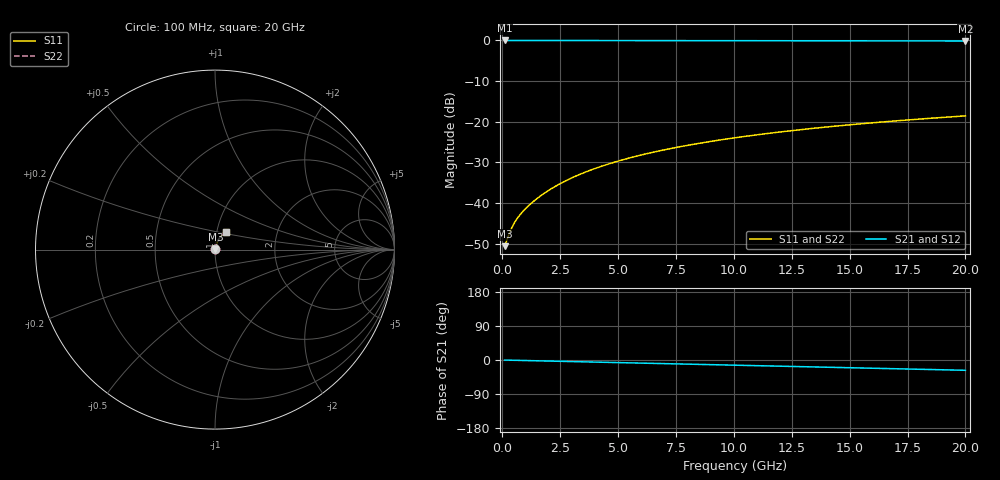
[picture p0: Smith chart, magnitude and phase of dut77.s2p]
! Touchstone file exported from HFSS 2026.1.0
!  File:  C:/ffzhzh/LocalFiles/Ansys_Project_Files/temp_train_BSMRDL_77_1782883010_43084.aedt
!  Generated:  01:17:59 PM Jul  1, 2026
!  Design:  BSMRDL
!  Project:  temp_train_BSMRDL_77_1782883010_43084
! Variables:
!  h_bsmrdl = 2.31um
!  h_ox = 20um
!  h_rdl = 5um
!  h_sub = 80um
!  h_tmrdl = 5um
!  h_tsv = 80um
!  h_via = 3um
!  l_bsmrdl = 445.26um
!  l_sub = 845.26um
!  l_tmrdl = 200um
!  m_sub = 200um
!  pitch = 37.12um
!  r_tsv = 6um
!  s_tmrdl = 10um
!  w_bsmrdl = 28.76um
!  w_sub = 500um
!  w_tmrdl = 12um
!  x_tsv_center1 = 206um
!  x_tsv_center2 = 680.02um
!  x_tsv_center3 = 892.02um
!  x_tsv_center4 = 1366.04um
!  x_tsv_center5 = 1578.04um
!  x_tsv_center6 = 2052.06um
# GHz S MA R 50.000000
! Terminal data exported
! Port[1] = BSM_RDL1_1_T1
! Port[2] = BSM_RDL1_1_T2
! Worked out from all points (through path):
!   200 points, 100 MHz to 20 GHz, reference 50 ohm
!   highest |S21| = -0.02 dB at 100 MHz (marker M1); lowest = -0.2 dB at 20 GHz (marker M2)
!   group delay of S21, straight-line fit = 3.77 ps
!   lowest |S11| = -50.6 dB at 100 MHz (marker M3), VSWR 1.01, Z = 50.3 + j0.0987 ohm
!   |S11| at or under -10 dB: start of sweep to end of sweep
!   |S22| runs from -50.6 to -18.6 dB; largest |S21 - S12| = 3.2e-15
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0.1  0.002952 19.4  0.9972 -0.2  0.9972 -0.2  0.002952 19.4
! Gamma 0 0 0 0
! Port Impedance 50 0 50 0
0.3  0.004201 40.9  0.9968 -0.5  0.9968 -0.5  0.004201 40.9
0.4  0.004899 45.8  0.9966 -0.6  0.9966 -0.6  0.004899 45.8
0.5  0.005566 49.1  0.9964 -0.7  0.9964 -0.7  0.005566 49.1
0.6  0.006198 51.6  0.9962 -0.9  0.9962 -0.9  0.006198 51.6
0.8  0.007383 55.4  0.9959 -1.2  0.9959 -1.2  0.007383 55.4
1.1  0.009084 59.9  0.9957 -1.6  0.9957 -1.6  0.009084 59.9
1.3  0.01022 62.3  0.9955 -1.8  0.9955 -1.8  0.01022 62.3
1.6  0.01194 65.2  0.9954 -2.2  0.9954 -2.2  0.01194 65.2
2.1  0.0149 68.6  0.9952 -2.9  0.9952 -2.9  0.0149 68.6
2.8  0.01915 71.3  0.995 -3.9  0.995 -3.9  0.01915 71.3
3.5  0.02347 72.7  0.9947 -4.9  0.9947 -4.9  0.02347 72.8
4.2  0.02782 73.4  0.9944 -5.8  0.9944 -5.8  0.02782 73.4
5  0.0328 73.6  0.9941 -6.9  0.9941 -6.9  0.0328 73.6
5.9  0.03838 73.4  0.9936 -8.1  0.9936 -8.1  0.03838 73.4
6.8  0.04392 72.8  0.9931 -9.4  0.9931 -9.4  0.04392 72.8
8.3  0.05304 71.6  0.9921 -11.4  0.9921 -11.4  0.05304 71.6
10.1  0.06378 69.7  0.9908 -13.9  0.9908 -13.9  0.06378 69.7
11.7  0.0731 67.9  0.9896 -16.0  0.9896 -16.0  0.0731 67.9
13.4  0.08277 65.9  0.9882 -18.3  0.9882 -18.3  0.08277 65.9
16.7  0.1008 61.9  0.9853 -22.8  0.9853 -22.8  0.1008 61.9
20  0.1179 57.8  0.9824 -27.2  0.9824 -27.2  0.1179 57.8
